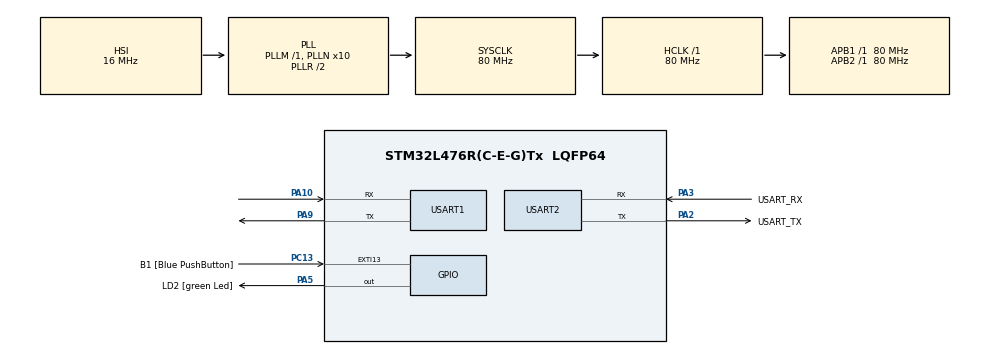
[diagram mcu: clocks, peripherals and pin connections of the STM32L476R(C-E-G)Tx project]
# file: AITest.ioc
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Mcu.Family=STM32L4
Mcu.Name=STM32L476R(C-E-G)Tx
Mcu.Package=LQFP64
NVIC.PriorityGroup=NVIC_PRIORITYGROUP_4
NVIC.USART1_IRQn=true\:0\:0\:false\:false\:true\:true\:true\:true
PA10.Mode=Asynchronous
PA10.Signal=USART1_RX
PA13\ (JTMS-SWDIO).GPIO_Label=TMS
PA13\ (JTMS-SWDIO).Mode=Serial_Wire
PA13\ (JTMS-SWDIO).Signal=SYS_JTMS-SWDIO
PA14\ (JTCK-SWCLK).GPIO_Label=TCK
PA14\ (JTCK-SWCLK).Mode=Serial_Wire
PA14\ (JTCK-SWCLK).Signal=SYS_JTCK-SWCLK
PA2.GPIO_Label=USART_TX
PA2.GPIO_Mode=GPIO_MODE_AF_PP
PA2.GPIO_PuPd=GPIO_NOPULL
PA2.GPIO_Speed=GPIO_SPEED_FREQ_VERY_HIGH
PA2.Mode=Asynchronous
PA2.Signal=USART2_TX
PA3.GPIO_Label=USART_RX
PA3.GPIO_Mode=GPIO_MODE_AF_PP
PA3.GPIO_PuPd=GPIO_NOPULL
PA3.GPIO_Speed=GPIO_SPEED_FREQ_VERY_HIGH
PA3.Mode=Asynchronous
PA3.Signal=USART2_RX
PA5.GPIO_Label=LD2 [green Led]
PA5.GPIO_ModeDefaultOutputPP=GPIO_MODE_OUTPUT_PP
PA5.GPIO_PuPd=GPIO_NOPULL
PA5.GPIO_Speed=GPIO_SPEED_FREQ_LOW
PA5.Signal=GPIO_Output
PA9.Mode=Asynchronous
PA9.Signal=USART1_TX
PB3\ (JTDO-TRACESWO).GPIO_Label=SWO
PB3\ (JTDO-TRACESWO).Signal=SYS_JTDO-SWO
PC13.GPIO_Label=B1 [Blue PushButton]
PC13.GPIO_ModeDefaultEXTI=GPIO_MODE_IT_FALLING
PC13.GPIO_PuPd=GPIO_NOPULL
PC13.Signal=GPXTI13
PC14-OSC32_IN\ (PC14).Mode=LSE-External-Oscillator
PC14-OSC32_IN\ (PC14).Signal=RCC_OSC32_IN
PC15-OSC32_OUT\ (PC15).Mode=LSE-External-Oscillator
PC15-OSC32_OUT\ (PC15).Signal=RCC_OSC32_OUT
PH0-OSC_IN\ (PH0).Signal=RCC_OSC_IN
PH1-OSC_OUT\ (PH1).Signal=RCC_OSC_OUT
ProjectManager.HeapSize=0x200
ProjectManager.StackSize=0x400
ProjectManager.TargetToolchain=CMake
RCC.ADCFreq_Value=64000000
RCC.AHBFreq_Value=80000000
RCC.APB1Freq_Value=80000000
RCC.APB1TimFreq_Value=80000000
RCC.APB2Freq_Value=80000000
RCC.APB2TimFreq_Value=80000000
RCC.CortexFreq_Value=80000000
RCC.HCLKFreq_Value=80000000
RCC.HSE_VALUE=8000000
RCC.HSI_VALUE=16000000
RCC.MSI_VALUE=4000000
RCC.PLLN=10
RCC.PLLSourceVirtual=RCC_PLLSOURCE_HSI
RCC.PREFETCH_ENABLE=1
RCC.SYSCLKFreq_VALUE=80000000
RCC.SYSCLKSource=RCC_SYSCLKSOURCE_PLLCLK
RCC.USBFreq_Value=64000000
RCC.VCOOutputFreq_Value=160000000
USART1.VirtualMode-Asynchronous=VM_ASYNC
USART2.VirtualMode-Asynchronous=VM_ASYNC
board=NUCLEO-L476RG

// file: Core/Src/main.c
/* USER CODE BEGIN Header */
/**
  ******************************************************************************
  * @file           : main.c
  * @brief          : Main program body
  ******************************************************************************
  * @attention
  *
  * Copyright (c) 2025 STMicroelectronics.
  * All rights reserved.
  *
  * This software is licensed under terms that can be found in the LICENSE file
  * in the root directory of this software component.
  * If no LICENSE file comes with this software, it is provided AS-IS.
  *
  ******************************************************************************
  */
/* USER CODE END Header */
#include "main.h"

/* USER CODE BEGIN Includes */
#include <stdio.h>
#include <string.h>

/* USER CODE END Includes */

UART_HandleTypeDef huart1;
UART_HandleTypeDef huart2;

void SystemClock_Config(void);
static void MX_GPIO_Init(void);
static void MX_USART2_UART_Init(void);
static void MX_USART1_UART_Init(void);
/* USER CODE BEGIN PFP */
void HAL_UART_RxCpltCallback(UART_HandleTypeDef *huart);

/* USER CODE END PFP */

/* USER CODE BEGIN 0 */
uint8_t tf_frame[9];
uint16_t tf_distance = 0;

/* USER CODE END 0 */

int main(void)
{

  /* MCU Configuration--------------------------------------------------------*/

  /* Reset of all peripherals, Initializes the Flash interface and the Systick. */
  HAL_Init();

  /* Configure the system clock */
  SystemClock_Config();

  /* Initialize all configured peripherals */
  MX_GPIO_Init();
  MX_USART2_UART_Init();
  MX_USART1_UART_Init();
  /* USER CODE BEGIN 2 */
  HAL_UART_Receive_IT(&huart1, tf_frame, 9);
  char buf[32];
  snprintf(buf, sizeof(buf), "WELCOME! \r\n");
  HAL_UART_Transmit(&huart2, (uint8_t*)buf, strlen(buf), HAL_MAX_DELAY);
  //char raw[64];
  uint8_t byte;
  uint8_t index = 0;

  /* USER CODE END 2 */

  /* Infinite loop */
  /* USER CODE BEGIN WHILE */
  //char logbuffer[64];
  //uint8_t lidarDistance_cm;
  while (1)
  {
    /* USER CODE END WHILE */
    //snprintf(raw, sizeof(raw), "Raw: %02X %02X %02X...\r\n", tf_frame[0], tf_frame[1], tf_frame[2]);
    // if (HAL_UART_Receive(&huart1, tf_frame,  9, 1000) == HAL_OK)
    // {
    //   if (tf_frame[0] == 0x59 && tf_frame[1] == 0x59)
    //   {
    //     uint16_t distance = tf_frame[2] + (tf_frame[3] << 8);
    //     sniprintf(buf, sizeof(buf), "Distance: %u\r\n", distance);
    //     HAL_UART_Transmit(&huart2, (uint8_t)buf, strlen(buf), HAL_MAX_DELAY);
    //   }
    // }
    // if (HAL_UART_Receive(&huart1, &byte, 1, 10) == HAL_OK)
    // {
    //     if (index == 0 && byte != 0x59) continue; // Wait for header
    //     if (index == 1 && byte != 0x59) {
    //         index = 0;
    //         continue;
    //     }

    //     tf_frame[index++] = byte;

    //     if (index == 9)
    //     {
    //         index = 0;

    //         // Check checksum
    //         uint8_t checksum = 0;
    //         for (int i = 0; i < 8; i++) checksum += tf_frame[i];

    //         if (checksum != tf_frame[8]) continue;  // bad frame

    //         uint16_t distance = tf_frame[2] + (tf_frame[3] << 8);
    //         uint16_t strength = tf_frame[4] + (tf_frame[5] << 8);
    //         int16_t temperature = tf_frame[6] + (tf_frame[7] << 8);
    //         temperature = temperature / 8 - 256;

    //         char msg[64];
    //         snprintf(msg, sizeof(msg), "D:%u S:%u T:%d\r\n", distance, strength, temperature);
    //         HAL_UART_Transmit(&huart2, (uint8_t*)msg, strlen(msg), HAL_MAX_DELAY);
    //     }
    // }

    //HAL_UART_Transmit(&huart2, (uint8_t*)raw, sizeof(raw), 1000);
    //(logbuffer,sizeof(logbuffer), "\r\nDistance: %d cm\n", lidarDistance_cm);
    // HAL_GPIO_TogglePin(GPIOA, GPIO_PIN_5);
    // HAL_Delay(500);

    /* USER CODE BEGIN 3 */
  }
  return 0;
  /* USER CODE END 3 */
}

void SystemClock_Config(void)
{
  RCC_OscInitTypeDef RCC_OscInitStruct = {0};
  RCC_ClkInitTypeDef RCC_ClkInitStruct = {0};

  /** Configure the main internal regulator output voltage
  */
  if (HAL_PWREx_ControlVoltageScaling(PWR_REGULATOR_VOLTAGE_SCALE1) != HAL_OK)
  {
    Error_Handler();
  }

  /** Initializes the RCC Oscillators according to the specified parameters
  * in the RCC_OscInitTypeDef structure.
  */
  RCC_OscInitStruct.OscillatorType = RCC_OSCILLATORTYPE_HSI;
  RCC_OscInitStruct.HSIState = RCC_HSI_ON;
  RCC_OscInitStruct.HSICalibrationValue = RCC_HSICALIBRATION_DEFAULT;
  RCC_OscInitStruct.PLL.PLLState = RCC_PLL_ON;
  RCC_OscInitStruct.PLL.PLLSource = RCC_PLLSOURCE_HSI;
  RCC_OscInitStruct.PLL.PLLM = 1;
  RCC_OscInitStruct.PLL.PLLN = 10;
  RCC_OscInitStruct.PLL.PLLP = RCC_PLLP_DIV7;
  RCC_OscInitStruct.PLL.PLLQ = RCC_PLLQ_DIV2;
  RCC_OscInitStruct.PLL.PLLR = RCC_PLLR_DIV2;
  if (HAL_RCC_OscConfig(&RCC_OscInitStruct) != HAL_OK)
  {
    Error_Handler();
  }

  /** Initializes the CPU, AHB and APB buses clocks
  */
  RCC_ClkInitStruct.ClockType = RCC_CLOCKTYPE_HCLK|RCC_CLOCKTYPE_SYSCLK
                              |RCC_CLOCKTYPE_PCLK1|RCC_CLOCKTYPE_PCLK2;
  RCC_ClkInitStruct.SYSCLKSource = RCC_SYSCLKSOURCE_PLLCLK;
  RCC_ClkInitStruct.AHBCLKDivider = RCC_SYSCLK_DIV1;
  RCC_ClkInitStruct.APB1CLKDivider = RCC_HCLK_DIV1;
  RCC_ClkInitStruct.APB2CLKDivider = RCC_HCLK_DIV1;

  if (HAL_RCC_ClockConfig(&RCC_ClkInitStruct, FLASH_LATENCY_4) != HAL_OK)
  {
    Error_Handler();
  }
}

static void MX_USART1_UART_Init(void)
{

  huart1.Instance = USART1;
  huart1.Init.BaudRate = 115200;
  huart1.Init.WordLength = UART_WORDLENGTH_8B;
  huart1.Init.StopBits = UART_STOPBITS_1;
  huart1.Init.Parity = UART_PARITY_NONE;
  huart1.Init.Mode = UART_MODE_TX_RX;
  huart1.Init.HwFlowCtl = UART_HWCONTROL_NONE;
  huart1.Init.OverSampling = UART_OVERSAMPLING_16;
  huart1.Init.OneBitSampling = UART_ONE_BIT_SAMPLE_DISABLE;
  huart1.AdvancedInit.AdvFeatureInit = UART_ADVFEATURE_NO_INIT;
  if (HAL_UART_Init(&huart1) != HAL_OK)
  {
    Error_Handler();
  }

}

static void MX_USART2_UART_Init(void)
{

  huart2.Instance = USART2;
  huart2.Init.BaudRate = 115200;
  huart2.Init.WordLength = UART_WORDLENGTH_8B;
  huart2.Init.StopBits = UART_STOPBITS_1;
  huart2.Init.Parity = UART_PARITY_NONE;
  huart2.Init.Mode = UART_MODE_TX_RX;
  huart2.Init.HwFlowCtl = UART_HWCONTROL_NONE;
  huart2.Init.OverSampling = UART_OVERSAMPLING_16;
  huart2.Init.OneBitSampling = UART_ONE_BIT_SAMPLE_DISABLE;
  huart2.AdvancedInit.AdvFeatureInit = UART_ADVFEATURE_NO_INIT;
  if (HAL_UART_Init(&huart2) != HAL_OK)
  {
    Error_Handler();
  }

}

static void MX_GPIO_Init(void)
{
  GPIO_InitTypeDef GPIO_InitStruct = {0};

  /* GPIO Ports Clock Enable */
  __HAL_RCC_GPIOC_CLK_ENABLE();
  __HAL_RCC_GPIOH_CLK_ENABLE();
  __HAL_RCC_GPIOA_CLK_ENABLE();
  __HAL_RCC_GPIOB_CLK_ENABLE();

  /*Configure GPIO pin Output Level */
  HAL_GPIO_WritePin(LD2_GPIO_Port, LD2_Pin, GPIO_PIN_RESET);

  /*Configure GPIO pin : B1_Pin */
  GPIO_InitStruct.Pin = B1_Pin;
  GPIO_InitStruct.Mode = GPIO_MODE_IT_FALLING;
  GPIO_InitStruct.Pull = GPIO_NOPULL;
  HAL_GPIO_Init(B1_GPIO_Port, &GPIO_InitStruct);

  /*Configure GPIO pin : LD2_Pin */
  GPIO_InitStruct.Pin = LD2_Pin;
  GPIO_InitStruct.Mode = GPIO_MODE_OUTPUT_PP;
  GPIO_InitStruct.Pull = GPIO_NOPULL;
  GPIO_InitStruct.Speed = GPIO_SPEED_FREQ_LOW;
  HAL_GPIO_Init(LD2_GPIO_Port, &GPIO_InitStruct);

}

/* USER CODE BEGIN 4 */
void HAL_UART_RxCpltCallback(UART_HandleTypeDef *huart)
{
  if (huart->Instance == USART1)
  {
    HAL_GPIO_TogglePin(GPIOA, GPIO_PIN_5);
    if (tf_frame[0] == 0x59 && tf_frame[1] == 0x59)
    {
      tf_distance = tf_frame[2] + (tf_frame[3] << 8);

      char buf[32];
      snprintf(buf, sizeof(buf), "Distance: %ucm\r\n", tf_distance);
      HAL_UART_Transmit(&huart2, (uint8_t*)buf, strlen(buf), HAL_MAX_DELAY);
    }
    HAL_UART_Receive_IT(&huart1, tf_frame, 9);
  }
}

/* USER CODE END 4 */

void Error_Handler(void)
{
  __disable_irq();
  while (1)
  {
  }
}
